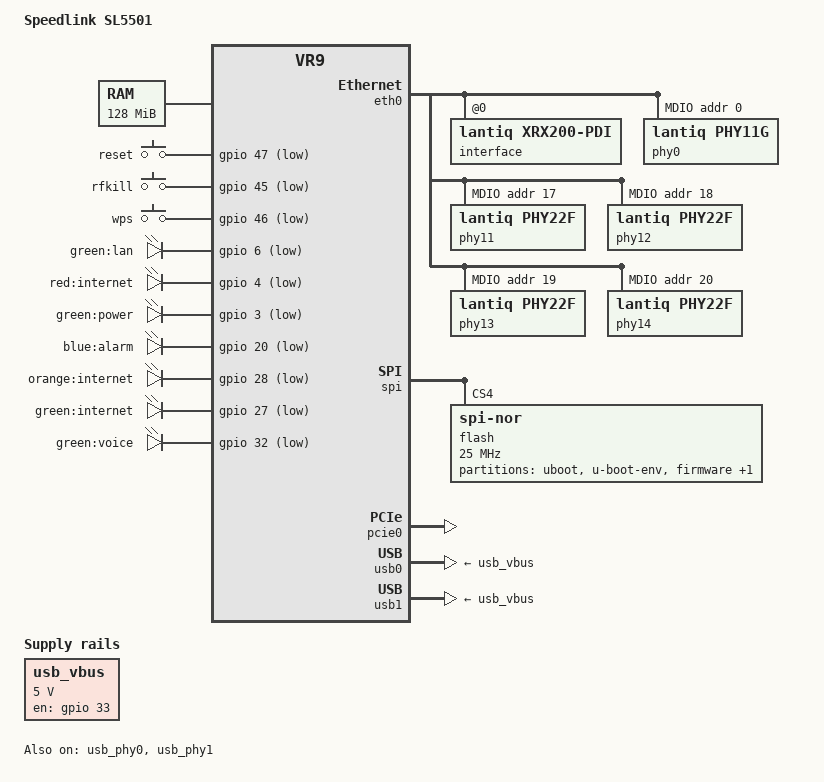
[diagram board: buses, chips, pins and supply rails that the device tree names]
#include "vr9.dtsi"

#include <dt-bindings/input/input.h>
#include <dt-bindings/mips/lantiq_rcu_gphy.h>

/ {
	compatible = "zyxel,sl5501", "lantiq,xway", "lantiq,vr9";
	model = "Speedlink SL5501";

	chosen {
		bootargs = "console=ttyLTQ0,115200";
	};

	aliases {
		led-boot = &power_green;
		led-failsafe = &power_green;
		led-running = &power_green;
		led-upgrade = &power_green;

		led-dsl = &internet_green;
	};

	memory@0 {
		device_type = "memory";
		reg = <0x0 0x8000000>;
	};

	keys {
		compatible = "gpio-keys-polled";
		poll-interval = <100>;

		reset {
			label = "reset";
			gpios = <&gpio 47 GPIO_ACTIVE_LOW>;
			linux,code = <KEY_RESTART>;
		};
		rfkill {
			label = "rfkill";
			gpios = <&gpio 45 GPIO_ACTIVE_LOW>;
			linux,code = <KEY_RFKILL>;
		};
		wps {
			label = "wps";
			gpios = <&gpio 46 GPIO_ACTIVE_LOW>;
			linux,code = <KEY_WPS_BUTTON>;
		};
	};

	leds {
		compatible = "gpio-leds";

		lan_green {
			label = "green:lan";
			gpios = <&gpio 6 GPIO_ACTIVE_LOW>;
		};
		internet_red {
			label = "red:internet";
			gpios = <&gpio 4 GPIO_ACTIVE_LOW>;
		};
		power_green: power_green {
			label = "green:power";
			gpios = <&gpio 3 GPIO_ACTIVE_LOW>;
			default-state = "keep";
		};
		alarm_blue {
			label = "blue:alarm";
			gpios = <&gpio 20 GPIO_ACTIVE_LOW>;
		};
		internet_orange {
			label = "orange:internet";
			gpios = <&gpio 28 GPIO_ACTIVE_LOW>;
		};
		internet_green: internet_green {
			label = "green:internet";
			gpios = <&gpio 27 GPIO_ACTIVE_LOW>;
		};
		voice_green {
			label = "green:voice";
			gpios = <&gpio 32 GPIO_ACTIVE_LOW>;
		};
	};

	usb_vbus: regulator-usb-vbus {
		compatible = "regulator-fixed";

		regulator-name = "USB_VBUS";

		regulator-min-microvolt = <5000000>;
		regulator-max-microvolt = <5000000>;

		gpio = <&gpio 33 GPIO_ACTIVE_HIGH>;
		enable-active-high;
	};
};

&eth0 {
        pinctrl-0 = <&mdio_pins>,
		    <&gphy0_led1_pins>, <&gphy0_led2_pins>,
		    <&gphy1_led1_pins>, <&gphy1_led2_pins>;
	pinctrl-names = "default";

	interface@0 {
		compatible = "lantiq,xrx200-pdi";
		#address-cells = <1>;
		#size-cells = <0>;
		reg = <0>;
		mac-address = [ 00 11 22 33 44 55 ];
		lantiq,switch;

		ethernet@0 {
			compatible = "lantiq,xrx200-pdi-port";
			reg = <0>;
			phy-mode = "rgmii";
			phy-handle = <&phy0>;
		};
		ethernet@2 {
			compatible = "lantiq,xrx200-pdi-port";
			reg = <2>;
			phy-mode = "mii";
			phy-handle = <&phy11>;
		};
		ethernet@3 {
			compatible = "lantiq,xrx200-pdi-port";
			reg = <3>;
			phy-mode = "mii";
			phy-handle = <&phy12>;
		};
		ethernet@4 {
			compatible = "lantiq,xrx200-pdi-port";
			reg = <4>;
			phy-mode = "mii";
			phy-handle = <&phy13>;
		};
		ethernet@5 {
			compatible = "lantiq,xrx200-pdi-port";
			reg = <5>;
			phy-mode = "mii";
			phy-handle = <&phy14>;
		};
	};

	mdio {
		#address-cells = <1>;
		#size-cells = <0>;
		compatible = "lantiq,xrx200-mdio";

		phy0: ethernet-phy@0 {
			reg = <0x0>;
			compatible = "lantiq,phy11g", "ethernet-phy-ieee802.3-c22";
		};
		phy11: ethernet-phy@11 {
			reg = <0x11>;
			compatible = "lantiq,phy22f", "ethernet-phy-ieee802.3-c22";
		};
		phy12: ethernet-phy@12 {
			reg = <0x12>;
			compatible = "lantiq,phy22f", "ethernet-phy-ieee802.3-c22";
		};
		phy13: ethernet-phy@13 {
			reg = <0x13>;
			compatible = "lantiq,phy22f", "ethernet-phy-ieee802.3-c22";
		};
		phy14: ethernet-phy@14 {
			reg = <0x14>;
			compatible = "lantiq,phy22f", "ethernet-phy-ieee802.3-c22";
		};
	};
};

&gphy0 {
	lantiq,gphy-mode = <GPHY_MODE_FE>;
};

&gphy1 {
	lantiq,gphy-mode = <GPHY_MODE_FE>;
};

&gpio {
	pinctrl-names = "default";
	pinctrl-0 = <&state_default>;

	state_default: pinmux {
		pcie-rst {
			lantiq,pins = "io21";
			lantiq,pull = <0>;
			lantiq,output = <1>;
		};
	};
};

&spi {
	status = "okay";

	flash@4 {
		compatible = "jedec,spi-nor";
		reg = <4>;
		spi-max-frequency = <25000000>;

		partitions {
			compatible = "fixed-partitions";
			#address-cells = <1>;
			#size-cells = <1>;
			
			partition@0 {
				label = "uboot";
				reg = <0x0 0x80000>;
				read-only;
			};

			partition@80000 {
				label = "u-boot-env";
				reg = <0x80000 0xc0000>;
				read-only;
			};

			partition@ac0000{
				label = "firmware";
				reg = <0xac0000 0x3fc0000>;
			};

			boardconfig: partition@c0000 {
				label = "boardconfig";
				reg = <0xc0000  0xac0000>;
				read-only;
			};
		};
	};
};

&pcie0 {
	status = "okay";
	gpio-reset = <&gpio 21 GPIO_ACTIVE_HIGH>;
};

&usb_phy0 {
	status = "okay";
};

&usb_phy1 {
	status = "okay";
};

&usb0 {
	status = "okay";
	vbus-supply = <&usb_vbus>;
};

&usb1 {
	status = "okay";
	vbus-supply = <&usb_vbus>;
};
